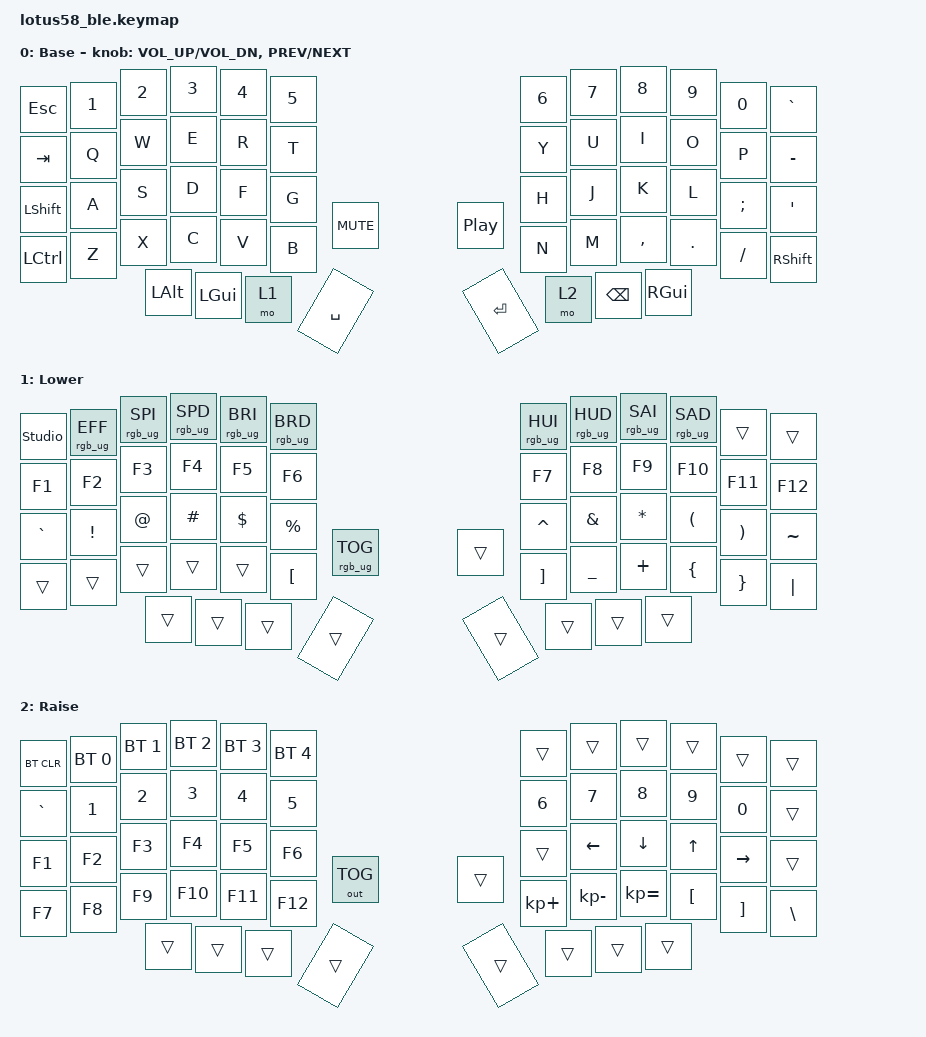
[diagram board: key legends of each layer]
// Copyright (c) 2026 Oscar Brandt
// SPDX-License-Identifier: MIT

#include <behaviors.dtsi>
#include <dt-bindings/zmk/keys.h>
#include <dt-bindings/zmk/bt.h> // Needed for Bluetooth keybinds.
#include <dt-bindings/zmk/rgb.h> // Needed for controlling the underglow LEDs.
#include <dt-bindings/zmk/outputs.h> // Needed to be able to switch between Bluetooth and USB for the output.

/ {
	keymap {
		compatible = "zmk,keymap";

		default-layer {
			display-name = "Base";
			bindings = <
				&kp ESC   &kp N1 &kp N2 &kp N3   &kp N4   &kp N5                        &kp N6 &kp N7   &kp N8    &kp N9  &kp N0   &kp GRAVE
				&kp TAB   &kp Q  &kp W  &kp E    &kp R    &kp T                         &kp Y  &kp U    &kp I     &kp O   &kp P    &kp MINUS
				&kp LSHFT &kp A  &kp S  &kp D    &kp F    &kp G                         &kp H  &kp J    &kp K     &kp L   &kp SEMI &kp SQT
				&kp LCTRL &kp Z  &kp X  &kp C    &kp V    &kp B  &kp C_MUTE   &kp C_PP  &kp N  &kp M    &kp COMMA &kp DOT &kp FSLH &kp RSHFT
				                        &kp LALT &kp LGUI &mo 1  &kp SPACE    &kp ENTER &mo 2  &kp BSPC &kp RGUI
			>;
			sensor-bindings = <
				&inc_dec_kp C_VOL_UP C_VOL_DN
				&inc_dec_kp C_PREV C_NEXT
			>;
		};

		lower {
			display-name = "Lower";
			bindings = <
				&studio_unlock &rgb_ug RGB_EFF &rgb_ug RGB_SPI &rgb_ug RGB_SPD &rgb_ug RGB_BRI &rgb_ug RGB_BRD                             &rgb_ug RGB_HUI &rgb_ug RGB_HUD &rgb_ug RGB_SAI &rgb_ug RGB_SAD &trans   &trans
				&kp F1         &kp F2          &kp F3          &kp F4          &kp F5          &kp F6                                      &kp F7          &kp F8          &kp F9          &kp F10         &kp F11  &kp F12
				&kp GRAVE      &kp EXCL        &kp AT          &kp HASH        &kp DLLR        &kp PRCNT                                   &kp CARET       &kp AMPS        &kp ASTRK       &kp LPAR        &kp RPAR &kp TILDE
				&trans         &trans          &trans          &trans          &trans          &kp LBKT        &rgb_ug RGB_TOG   &trans    &kp RBKT        &kp UNDER       &kp PLUS        &kp LBRC        &kp RBRC &kp PIPE
				                                               &trans          &trans          &trans          &trans            &trans    &trans          &trans          &trans
			>;
		};

		raise {
			display-name = "Raise";
			bindings = <
				&bt BT_CLR &bt BT_SEL 0 &bt BT_SEL 1 &bt BT_SEL 2  &bt BT_SEL 3  &bt BT_SEL 4                       &trans      &trans       &trans       &trans   &trans    &trans
				&kp GRAVE  &kp N1       &kp N2       &kp N3        &kp N4        &kp N5                             &kp N6      &kp N7       &kp N8       &kp N9   &kp N0    &trans
				&kp F1     &kp F2       &kp F3       &kp F4        &kp F5        &kp F6                             &trans      &kp LEFT     &kp DOWN     &kp UP   &kp RIGHT &trans
				&kp F7     &kp F8       &kp F9       &kp F10       &kp F11       &kp F12      &out OUT_TOG   &trans &kp KP_PLUS &kp KP_MINUS &kp KP_EQUAL &kp LBKT &kp RBKT  &kp BSLH
				                                     &trans        &trans        &trans       &trans         &trans &trans      &trans       &trans
			>;
		};
	};
};
